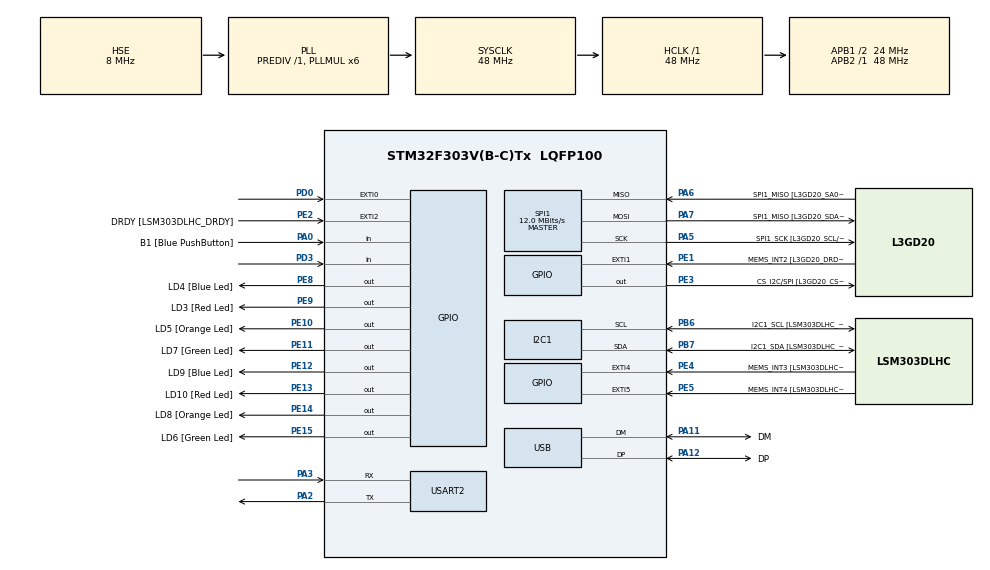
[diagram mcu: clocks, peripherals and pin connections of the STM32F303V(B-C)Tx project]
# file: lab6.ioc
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I2C1.Timing=0x2000090E
I2C1.Timing-I2C=0x2000090E
Mcu.Family=STM32F3
Mcu.Name=STM32F303V(B-C)Tx
Mcu.Package=LQFP100
NVIC.EXTI0_IRQn=true\:0\:0\:false\:false\:true\:true\:true\:true
NVIC.PriorityGroup=NVIC_PRIORITYGROUP_0
PA0.GPIO_Label=B1 [Blue PushButton]
PA0.Signal=GPIO_Input
PA11.GPIO_Label=DM
PA11.Mode=Device
PA11.Signal=USB_DM
PA12.GPIO_Label=DP
PA12.Mode=Device
PA12.Signal=USB_DP
PA13.GPIO_Label=SWDIO
PA13.Mode=Serial_Wire
PA13.Signal=SYS_JTMS-SWDIO
PA14.GPIO_Label=SWCLK
PA14.Mode=Serial_Wire
PA14.Signal=SYS_JTCK-SWCLK
PA2.Mode=Asynchronous
PA2.Signal=USART2_TX
PA3.Mode=Asynchronous
PA3.Signal=USART2_RX
PA5.GPIO_Label=SPI1_SCK [L3GD20_SCL/SPC]
PA5.Mode=Full_Duplex_Master
PA5.Signal=SPI1_SCK
PA6.GPIO_Label=SPI1_MISO [L3GD20_SA0/SDO]
PA6.Mode=Full_Duplex_Master
PA6.Signal=SPI1_MISO
PA7.GPIO_Label=SPI1_MISO [L3GD20_SDA/SDI/SDO]
PA7.Mode=Full_Duplex_Master
PA7.Signal=SPI1_MOSI
PB3.GPIO_Label=SWO
PB3.Signal=SYS_JTDO-TRACESWO
PB6.GPIO_Label=I2C1_SCL [LSM303DLHC_SCL]
PB6.GPIO_Pu=GPIO_PULLUP
PB6.Mode=I2C
PB6.Signal=I2C1_SCL
PB7.GPIO_Label=I2C1_SDA [LSM303DLHC_SDA]
PB7.GPIO_Pu=GPIO_PULLUP
PB7.Mode=I2C
PB7.Signal=I2C1_SDA
PC14-OSC32_IN.GPIO_Label=OSC32_IN
PC14-OSC32_IN.Signal=RCC_OSC32_IN
PC15-OSC32_OUT.GPIO_Label=OSC32_OUT
PC15-OSC32_OUT.Signal=RCC_OSC32_OUT
PD0.Signal=GPXTI0
PD3.Signal=GPIO_Input
PE1.GPIO_Label=MEMS_INT2 [L3GD20_DRDY/INT2]
PE1.GPIO_ModeDefaultEXTI=GPIO_MODE_EVT_RISING
PE1.Signal=GPXTI1
PE10.GPIO_Label=LD5 [Orange Led]
PE10.Signal=GPIO_Output
PE11.GPIO_Label=LD7 [Green Led]
PE11.Signal=GPIO_Output
PE12.GPIO_Label=LD9 [Blue Led]
PE12.Signal=GPIO_Output
PE13.GPIO_Label=LD10 [Red Led]
PE13.Signal=GPIO_Output
PE14.GPIO_Label=LD8 [Orange Led]
PE14.Signal=GPIO_Output
PE15.GPIO_Label=LD6 [Green Led]
PE15.Signal=GPIO_Output
PE2.GPIO_Label=DRDY [LSM303DLHC_DRDY]
PE2.GPIO_ModeDefaultEXTI=GPIO_MODE_EVT_RISING
PE2.Signal=GPXTI2
PE3.GPIO_Label=CS_I2C/SPI [L3GD20_CS_I2C/SPI]
PE3.Signal=GPIO_Output
PE4.GPIO_Label=MEMS_INT3 [LSM303DLHC_INT1]
PE4.GPIO_ModeDefaultEXTI=GPIO_MODE_EVT_RISING
PE4.Signal=GPXTI4
PE5.GPIO_Label=MEMS_INT4 [LSM303DLHC_INT2]
PE5.GPIO_ModeDefaultEXTI=GPIO_MODE_EVT_RISING
PE5.Signal=GPXTI5
PE8.GPIO_Label=LD4 [Blue Led]
PE8.Signal=GPIO_Output
PE9.GPIO_Label=LD3 [Red Led]
PE9.Signal=GPIO_Output
PF0-OSC_IN.GPIO_Label=OSC_IN
PF0-OSC_IN.Mode=HSE-External-Clock-Source
PF0-OSC_IN.Signal=RCC_OSC_IN
PF1-OSC_OUT.GPIO_Label=OSC_OUT
PF1-OSC_OUT.Signal=RCC_OSC_OUT
ProjectManager.HeapSize=0x200
ProjectManager.StackSize=0x400
ProjectManager.TargetToolchain=CMake
RCC.AHBFreq_Value=48000000
RCC.APB1CLKDivider=RCC_HCLK_DIV2
RCC.APB1Freq_Value=24000000
RCC.APB1TimFreq_Value=48000000
RCC.APB2Freq_Value=48000000
RCC.APB2TimFreq_Value=48000000
RCC.CortexFreq_Value=48000000
RCC.HCLKFreq_Value=48000000
RCC.HSE_VALUE=8000000
RCC.HSI_VALUE=8000000
RCC.LSE_VALUE=32768
RCC.PLLMUL=RCC_PLL_MUL6
RCC.SYSCLKFreq_VALUE=48000000
RCC.SYSCLKSourceVirtual=RCC_SYSCLKSOURCE_PLLCLK
RCC.USBFreq_Value=48000000
SPI1.BaudRatePrescaler=SPI_BAUDRATEPRESCALER_4
SPI1.BaudRatePrescaler-Full_Duplex_Master=SPI_BAUDRATEPRESCALER_2
SPI1.CalculateBaudRate=12.0 MBits/s
SPI1.CalculateBaudRate-Full_Duplex_Master=24.0 MBits/s
SPI1.Direction=SPI_DIRECTION_2LINES
SPI1.Mode=SPI_MODE_MASTER
SPI1.Mode-Full_Duplex_Master=SPI_MODE_MASTER
SPI1.VirtualType=VM_MASTER
USART2.VirtualMode-Asynchronous=VM_ASYNC
VP_TIM2_VS_ClockSourceINT.Mode=Internal
board=STM32F3DISCOVERY

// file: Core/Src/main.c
/* USER CODE BEGIN Header */
/**
  ******************************************************************************
  * @file           : main.c
  * @brief          : Main program body
  ******************************************************************************
  * @attention
  *
  * Copyright (c) 2025 STMicroelectronics.
  * All rights reserved.
  *
  * This software is licensed under terms that can be found in the LICENSE file
  * in the root directory of this software component.
  *
  ******************************************************************************
  */
/* USER CODE END Header */
#include "main.h"
#include <stdio.h>
#include <stdbool.h>
#include <string.h>
#include <math.h>

/* USER CODE BEGIN PD */
#define SAMPLE_SIZE   16
/* USER CODE END PD */

I2C_HandleTypeDef hi2c1;
SPI_HandleTypeDef hspi1;
TIM_HandleTypeDef htim2;
UART_HandleTypeDef huart2;
PCD_HandleTypeDef hpcd_USB_FS;

/* USER CODE BEGIN PV */
static volatile uint32_t period_buf[SAMPLE_SIZE];
static volatile uint32_t sample_idx   = 0;
static volatile bool     first_edge;
static volatile bool     print_flag   = false;
/* USER CODE END PV */

void SystemClock_Config(void);
static void MX_GPIO_Init(void);
static void MX_I2C1_Init(void);
static void MX_SPI1_Init(void);
static void MX_TIM2_Init(void);
static void MX_USART2_UART_Init(void);
static void MX_USB_PCD_Init(void);
/* USER CODE BEGIN PFP */
static void   compute_and_print(void);
static uint32_t get_tim2_tick_hz(void);
/* USER CODE END PFP */

/* USER CODE BEGIN 0 */
int _write(int file, char *ptr, int len)
{
  HAL_UART_Transmit(&huart2, (uint8_t*)ptr, len, HAL_MAX_DELAY);
  return len;
}
/* USER CODE END 0 */

int main(void)
{
  /* MCU Configuration--------------------------------------------------------*/
  HAL_Init();
  SystemClock_Config();

  /* Initialize all configured peripherals */
  MX_GPIO_Init();
  MX_I2C1_Init();
  MX_SPI1_Init();
  MX_TIM2_Init();
  MX_USART2_UART_Init();
  MX_USB_PCD_Init();

  /* Infinite loop */
  while (1)
  {
    HAL_Delay(100);

    if (print_flag) {
      print_flag = false;
      compute_and_print();
    }
  }
}

void SystemClock_Config(void)
{
  RCC_OscInitTypeDef RCC_OscInitStruct = {0};
  RCC_ClkInitTypeDef RCC_ClkInitStruct = {0};
  RCC_PeriphCLKInitTypeDef PeriphClkInit = {0};

  RCC_OscInitStruct.OscillatorType = RCC_OSCILLATORTYPE_HSI|RCC_OSCILLATORTYPE_HSE;
  RCC_OscInitStruct.HSEState = RCC_HSE_BYPASS;
  RCC_OscInitStruct.HSEPredivValue = RCC_HSE_PREDIV_DIV1;
  RCC_OscInitStruct.HSIState = RCC_HSI_ON;
  RCC_OscInitStruct.HSICalibrationValue = RCC_HSICALIBRATION_DEFAULT;
  RCC_OscInitStruct.PLL.PLLState = RCC_PLL_ON;
  RCC_OscInitStruct.PLL.PLLSource = RCC_PLLSOURCE_HSE;
  RCC_OscInitStruct.PLL.PLLMUL = RCC_PLL_MUL6;
  if (HAL_RCC_OscConfig(&RCC_OscInitStruct) != HAL_OK) { Error_Handler(); }

  RCC_ClkInitStruct.ClockType = RCC_CLOCKTYPE_HCLK|RCC_CLOCKTYPE_SYSCLK
                              |RCC_CLOCKTYPE_PCLK1|RCC_CLOCKTYPE_PCLK2;
  RCC_ClkInitStruct.SYSCLKSource = RCC_SYSCLKSOURCE_PLLCLK;
  RCC_ClkInitStruct.AHBCLKDivider = RCC_SYSCLK_DIV1;
  RCC_ClkInitStruct.APB1CLKDivider = RCC_HCLK_DIV2;
  RCC_ClkInitStruct.APB2CLKDivider = RCC_HCLK_DIV1;
  if (HAL_RCC_ClockConfig(&RCC_ClkInitStruct, FLASH_LATENCY_1) != HAL_OK) { Error_Handler(); }

  PeriphClkInit.PeriphClockSelection = RCC_PERIPHCLK_USB|RCC_PERIPHCLK_USART2|RCC_PERIPHCLK_I2C1;
  PeriphClkInit.Usart2ClockSelection = RCC_USART2CLKSOURCE_PCLK1;
  PeriphClkInit.I2c1ClockSelection = RCC_I2C1CLKSOURCE_HSI;
  PeriphClkInit.USBClockSelection = RCC_USBCLKSOURCE_PLL;
  if (HAL_RCCEx_PeriphCLKConfig(&PeriphClkInit) != HAL_OK) { Error_Handler(); }
}

static void MX_I2C1_Init(void)
{
  hi2c1.Instance = I2C1;
  hi2c1.Init.Timing = 0x2000090E;
  hi2c1.Init.OwnAddress1 = 0;
  hi2c1.Init.AddressingMode = I2C_ADDRESSINGMODE_7BIT;
  hi2c1.Init.DualAddressMode = I2C_DUALADDRESS_DISABLE;
  hi2c1.Init.OwnAddress2 = 0;
  hi2c1.Init.OwnAddress2Masks = I2C_OA2_NOMASK;
  hi2c1.Init.GeneralCallMode = I2C_GENERALCALL_DISABLE;
  hi2c1.Init.NoStretchMode = I2C_NOSTRETCH_DISABLE;
  if (HAL_I2C_Init(&hi2c1) != HAL_OK) { Error_Handler(); }
  if (HAL_I2CEx_ConfigAnalogFilter(&hi2c1, I2C_ANALOGFILTER_ENABLE) != HAL_OK) { Error_Handler(); }
  if (HAL_I2CEx_ConfigDigitalFilter(&hi2c1, 0) != HAL_OK) { Error_Handler(); }
}

static void MX_SPI1_Init(void)
{
  hspi1.Instance = SPI1;
  hspi1.Init.Mode = SPI_MODE_MASTER;
  hspi1.Init.Direction = SPI_DIRECTION_2LINES;
  hspi1.Init.DataSize = SPI_DATASIZE_4BIT;
  hspi1.Init.CLKPolarity = SPI_POLARITY_LOW;
  hspi1.Init.CLKPhase = SPI_PHASE_1EDGE;
  hspi1.Init.NSS = SPI_NSS_SOFT;
  hspi1.Init.BaudRatePrescaler = SPI_BAUDRATEPRESCALER_4;
  hspi1.Init.FirstBit = SPI_FIRSTBIT_MSB;
  hspi1.Init.TIMode = SPI_TIMODE_DISABLE;
  hspi1.Init.CRCCalculation = SPI_CRCCALCULATION_DISABLE;
  hspi1.Init.CRCPolynomial = 7;
  hspi1.Init.CRCLength = SPI_CRC_LENGTH_DATASIZE;
  hspi1.Init.NSSPMode = SPI_NSS_PULSE_ENABLE;
  if (HAL_SPI_Init(&hspi1) != HAL_OK) { Error_Handler(); }
}

static void MX_TIM2_Init(void)
{
  TIM_ClockConfigTypeDef sClockSourceConfig = {0};
  TIM_MasterConfigTypeDef sMasterConfig = {0};

  htim2.Instance = TIM2;
  htim2.Init.Prescaler = 9;//8 MHz tick (with current clocks)
  htim2.Init.CounterMode = TIM_COUNTERMODE_UP;
  htim2.Init.Period = 4294967295;
  htim2.Init.ClockDivision = TIM_CLOCKDIVISION_DIV1;
  htim2.Init.AutoReloadPreload = TIM_AUTORELOAD_PRELOAD_DISABLE;
  if (HAL_TIM_Base_Init(&htim2) != HAL_OK) { Error_Handler(); }

  sClockSourceConfig.ClockSource = TIM_CLOCKSOURCE_INTERNAL;
  if (HAL_TIM_ConfigClockSource(&htim2, &sClockSourceConfig) != HAL_OK) { Error_Handler(); }

  sMasterConfig.MasterOutputTrigger = TIM_TRGO_RESET;
  sMasterConfig.MasterSlaveMode = TIM_MASTERSLAVEMODE_DISABLE;
  if (HAL_TIMEx_MasterConfigSynchronization(&htim2, &sMasterConfig) != HAL_OK) { Error_Handler(); }
}

static void MX_USART2_UART_Init(void)
{
  huart2.Instance = USART2;
  huart2.Init.BaudRate = 115200;
  huart2.Init.WordLength = UART_WORDLENGTH_8B;
  huart2.Init.StopBits = UART_STOPBITS_1;
  huart2.Init.Parity = UART_PARITY_NONE;
  huart2.Init.Mode = UART_MODE_TX_RX;
  huart2.Init.HwFlowCtl = UART_HWCONTROL_NONE;
  huart2.Init.OverSampling = UART_OVERSAMPLING_16;
  huart2.Init.OneBitSampling = UART_ONE_BIT_SAMPLE_DISABLE;
  huart2.AdvancedInit.AdvFeatureInit = UART_ADVFEATURE_NO_INIT;
  if (HAL_UART_Init(&huart2) != HAL_OK) { Error_Handler(); }
}

static void MX_USB_PCD_Init(void)
{
  hpcd_USB_FS.Instance = USB;
  hpcd_USB_FS.Init.dev_endpoints = 8;
  hpcd_USB_FS.Init.speed = PCD_SPEED_FULL;
  hpcd_USB_FS.Init.phy_itface = PCD_PHY_EMBEDDED;
  hpcd_USB_FS.Init.low_power_enable = DISABLE;
  hpcd_USB_FS.Init.battery_charging_enable = DISABLE;
  if (HAL_PCD_Init(&hpcd_USB_FS) != HAL_OK) { Error_Handler(); }
}

static void MX_GPIO_Init(void)
{
  GPIO_InitTypeDef GPIO_InitStruct = {0};

  __HAL_RCC_GPIOE_CLK_ENABLE();
  __HAL_RCC_GPIOC_CLK_ENABLE();
  __HAL_RCC_GPIOF_CLK_ENABLE();
  __HAL_RCC_GPIOA_CLK_ENABLE();
  __HAL_RCC_GPIOD_CLK_ENABLE();
  __HAL_RCC_GPIOB_CLK_ENABLE();

  /* LEDs etc. */
  HAL_GPIO_WritePin(GPIOE, CS_I2C_SPI_Pin|LD4_Pin|LD3_Pin|LD5_Pin
                          |LD7_Pin|LD9_Pin|LD10_Pin|LD8_Pin
                          |LD6_Pin, GPIO_PIN_RESET);

  GPIO_InitStruct.Pin = DRDY_Pin|MEMS_INT3_Pin|MEMS_INT4_Pin|MEMS_INT2_Pin;
  GPIO_InitStruct.Mode = GPIO_MODE_EVT_RISING;
  GPIO_InitStruct.Pull = GPIO_NOPULL;
  HAL_GPIO_Init(GPIOE, &GPIO_InitStruct);

  GPIO_InitStruct.Pin = CS_I2C_SPI_Pin|LD4_Pin|LD3_Pin|LD5_Pin
                        |LD7_Pin|LD9_Pin|LD10_Pin|LD8_Pin
                        |LD6_Pin;
  GPIO_InitStruct.Mode = GPIO_MODE_OUTPUT_PP;
  GPIO_InitStruct.Pull = GPIO_NOPULL;
  GPIO_InitStruct.Speed = GPIO_SPEED_FREQ_LOW;
  HAL_GPIO_Init(GPIOE, &GPIO_InitStruct);

  GPIO_InitStruct.Pin = B1_Pin;
  GPIO_InitStruct.Mode = GPIO_MODE_INPUT;
  GPIO_InitStruct.Pull = GPIO_NOPULL;
  HAL_GPIO_Init(B1_GPIO_Port, &GPIO_InitStruct);

  /* PD0 = EXTI rising (FG input) */
  GPIO_InitStruct.Pin = GPIO_PIN_0;
  GPIO_InitStruct.Mode = GPIO_MODE_IT_RISING;
  GPIO_InitStruct.Pull = GPIO_NOPULL;
  HAL_GPIO_Init(GPIOD, &GPIO_InitStruct);

  /* PD3 = input (unused) */
  GPIO_InitStruct.Pin = GPIO_PIN_3;
  GPIO_InitStruct.Mode = GPIO_MODE_INPUT;
  GPIO_InitStruct.Pull = GPIO_NOPULL;
  HAL_GPIO_Init(GPIOD, &GPIO_InitStruct);

  /* NVIC for EXTI0 (PD0) */
  HAL_NVIC_SetPriority(EXTI0_IRQn, 0, 0);
  HAL_NVIC_EnableIRQ(EXTI0_IRQn);
}

/* USER CODE BEGIN 4 */
void HAL_GPIO_EXTI_Callback(uint16_t GPIO_Pin)
{
  if (GPIO_Pin == GPIO_PIN_0)  //PD0 rising edge
  {
    if (!first_edge) {
      __HAL_TIM_SET_COUNTER(&htim2, 0);
      HAL_TIM_Base_Start(&htim2);
      first_edge = true;
    } else {
      uint32_t counts = __HAL_TIM_GET_COUNTER(&htim2);
      __HAL_TIM_SET_COUNTER(&htim2, 0);

      period_buf[sample_idx++] = counts;
      if (sample_idx >= SAMPLE_SIZE) {
        sample_idx = 0;
        print_flag = true;
      }
    }
  }
}

static void compute_and_print(void)
{
  uint64_t sum = 0;
  for (int i = 0; i < SAMPLE_SIZE; i++) sum += period_buf[i];
  float avg_counts = (float)sum / (float)SAMPLE_SIZE;

  float tick_hz = (float)get_tim2_tick_hz();

  //Lab formula: f = tick / (2 * avg_counts)
  float freq_hz = tick_hz / (2.0f * avg_counts);
  printf("Freq = %.3f Hz\r\n" ,freq_hz);
}

static uint32_t get_tim2_tick_hz(void)
{
  RCC_ClkInitTypeDef clk = {0};
  uint32_t flash = 0;
  HAL_RCC_GetClockConfig(&clk, &flash);

  uint32_t pclk1 = HAL_RCC_GetPCLK1Freq();
  uint32_t timclk = (clk.APB1CLKDivider == RCC_HCLK_DIV1) ? pclk1 : (pclk1 * 2U);
  return timclk / (htim2.Init.Prescaler + 1U);
}
/* USER CODE END 4 */

void Error_Handler(void)
{
  __disable_irq();
  while (1) { }
}
